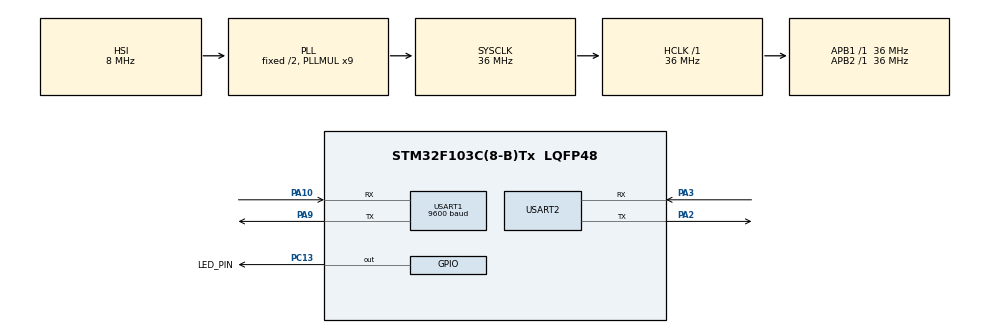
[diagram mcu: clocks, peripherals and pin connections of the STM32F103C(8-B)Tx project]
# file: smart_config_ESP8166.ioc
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Mcu.Family=STM32F1
Mcu.Name=STM32F103C(8-B)Tx
Mcu.Package=LQFP48
NVIC.PriorityGroup=NVIC_PRIORITYGROUP_4
NVIC.TIM3_IRQn=true\:3\:0\:true\:false\:true\:true\:true
NVIC.USART1_IRQn=true\:0\:0\:false\:false\:true\:true\:true
NVIC.USART2_IRQn=true\:2\:0\:true\:false\:true\:true\:true
PA10.Mode=Asynchronous
PA10.Signal=USART1_RX
PA13.Mode=Serial_Wire
PA13.Signal=SYS_JTMS-SWDIO
PA14.Mode=Serial_Wire
PA14.Signal=SYS_JTCK-SWCLK
PA2.Mode=Asynchronous
PA2.Signal=USART2_TX
PA3.Mode=Asynchronous
PA3.Signal=USART2_RX
PA9.Mode=Asynchronous
PA9.Signal=USART1_TX
PC13-TAMPER-RTC.GPIO_Label=LED_PIN
PC13-TAMPER-RTC.PinState=GPIO_PIN_SET
PC13-TAMPER-RTC.Signal=GPIO_Output
ProjectManager.HeapSize=0x200
ProjectManager.StackSize=0x400
ProjectManager.TargetToolchain=MDK-ARM V5.32
RCC.AHBFreq_Value=36000000
RCC.APB1Freq_Value=36000000
RCC.APB1TimFreq_Value=36000000
RCC.APB2Freq_Value=36000000
RCC.APB2TimFreq_Value=36000000
RCC.HCLKFreq_Value=36000000
RCC.PLLMUL=RCC_PLL_MUL9
RCC.SYSCLKFreq_VALUE=36000000
RCC.SYSCLKSource=RCC_SYSCLKSOURCE_PLLCLK
RCC.USBFreq_Value=36000000
TIM3.Period=1999
TIM3.Prescaler=1799
USART1.BaudRate=9600
USART1.VirtualMode=VM_ASYNC
USART2.VirtualMode=VM_ASYNC
VP_TIM3_VS_ClockSourceINT.Mode=Internal
board=custom

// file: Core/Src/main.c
/* USER CODE BEGIN Header */
/**
  ******************************************************************************
  * @file           : main.c
  * @brief          : Main program body
  ******************************************************************************
  * @attention
  *
  * <h2><center>&copy; Copyright (c) 2021 STMicroelectronics.
  * All rights reserved.</center></h2>
  *
  * This software component is licensed by ST under BSD 3-Clause license,
  * the "License"; You may not use this file except in compliance with the
  * License. You may obtain a copy of the License at:
  *                        opensource.org/licenses/BSD-3-Clause
  *
  ******************************************************************************
  */
/* USER CODE END Header */
#include "main.h"

/* USER CODE BEGIN Includes */
#include <stdint.h>
#include <stdbool.h>
#include "esp8266_smart_config.h"
#include "delay_timer.h"

/* USER CODE END Includes */

TIM_HandleTypeDef htim3;

UART_HandleTypeDef huart1;
UART_HandleTypeDef huart2;

/* USER CODE BEGIN PV */
/* ESP variables */
extern uint8_t esp_buff[BUFF_MAX]; /* Buffer receive */
extern uint8_t esp_rx_data;        /* Byte receive */
extern uint32_t esp_rx_index;      /* Index */
extern bool esp_rx_done;   /* Receive done flag */

/* USER CODE END PV */

void SystemClock_Config(void);
static void MX_GPIO_Init(void);
static void MX_USART1_UART_Init(void);
static void MX_USART2_UART_Init(void);
static void MX_TIM3_Init(void);

/* USER CODE BEGIN 0 */
void HAL_UART_RxCpltCallback(UART_HandleTypeDef *huart)
{
	UNUSED(huart);
	if(huart->Instance == USART2)
	{
		if(esp_rx_data != ENTER_CHAR)
		{
			esp_buff[esp_rx_index++] = esp_rx_data;
		}
		else
		{
			/* Clear index and set flag esp_rx_done */
			esp_rx_index = 0;
			esp_rx_done = true;
		}
		HAL_UART_Receive_IT(&huart2, &esp_rx_data, 1);
	}
}

/* USER CODE END 0 */

int main(void)
{

  /* MCU Configuration--------------------------------------------------------*/

  /* Reset of all peripherals, Initializes the Flash interface and the Systick. */
  HAL_Init();

  /* Configure the system clock */
  SystemClock_Config();

  /* Initialize all configured peripherals */
  MX_GPIO_Init();
  MX_USART1_UART_Init();
  MX_USART2_UART_Init();
  MX_TIM3_Init();
  /* USER CODE BEGIN 2 */
	HAL_TIM_Base_Start(&htim3);
	HAL_UART_Receive_IT(&huart2, &esp_rx_data, 1);
	esp8266_init();

  /* USER CODE END 2 */

  /* Infinite loop */
  while (1)
  {

  }
}

void SystemClock_Config(void)
{
  RCC_OscInitTypeDef RCC_OscInitStruct = {0};
  RCC_ClkInitTypeDef RCC_ClkInitStruct = {0};

  /** Initializes the RCC Oscillators according to the specified parameters
  * in the RCC_OscInitTypeDef structure.
  */
  RCC_OscInitStruct.OscillatorType = RCC_OSCILLATORTYPE_HSI;
  RCC_OscInitStruct.HSIState = RCC_HSI_ON;
  RCC_OscInitStruct.HSICalibrationValue = RCC_HSICALIBRATION_DEFAULT;
  RCC_OscInitStruct.PLL.PLLState = RCC_PLL_ON;
  RCC_OscInitStruct.PLL.PLLSource = RCC_PLLSOURCE_HSI_DIV2;
  RCC_OscInitStruct.PLL.PLLMUL = RCC_PLL_MUL9;
  if (HAL_RCC_OscConfig(&RCC_OscInitStruct) != HAL_OK)
  {
    Error_Handler();
  }
  /** Initializes the CPU, AHB and APB buses clocks
  */
  RCC_ClkInitStruct.ClockType = RCC_CLOCKTYPE_HCLK|RCC_CLOCKTYPE_SYSCLK
                              |RCC_CLOCKTYPE_PCLK1|RCC_CLOCKTYPE_PCLK2;
  RCC_ClkInitStruct.SYSCLKSource = RCC_SYSCLKSOURCE_PLLCLK;
  RCC_ClkInitStruct.AHBCLKDivider = RCC_SYSCLK_DIV1;
  RCC_ClkInitStruct.APB1CLKDivider = RCC_HCLK_DIV1;
  RCC_ClkInitStruct.APB2CLKDivider = RCC_HCLK_DIV1;

  if (HAL_RCC_ClockConfig(&RCC_ClkInitStruct, FLASH_LATENCY_1) != HAL_OK)
  {
    Error_Handler();
  }
}

static void MX_TIM3_Init(void)
{

  TIM_ClockConfigTypeDef sClockSourceConfig = {0};
  TIM_MasterConfigTypeDef sMasterConfig = {0};

  htim3.Instance = TIM3;
  htim3.Init.Prescaler = 1799;
  htim3.Init.CounterMode = TIM_COUNTERMODE_UP;
  htim3.Init.Period = 1999;
  htim3.Init.ClockDivision = TIM_CLOCKDIVISION_DIV1;
  htim3.Init.AutoReloadPreload = TIM_AUTORELOAD_PRELOAD_DISABLE;
  if (HAL_TIM_Base_Init(&htim3) != HAL_OK)
  {
    Error_Handler();
  }
  sClockSourceConfig.ClockSource = TIM_CLOCKSOURCE_INTERNAL;
  if (HAL_TIM_ConfigClockSource(&htim3, &sClockSourceConfig) != HAL_OK)
  {
    Error_Handler();
  }
  sMasterConfig.MasterOutputTrigger = TIM_TRGO_RESET;
  sMasterConfig.MasterSlaveMode = TIM_MASTERSLAVEMODE_DISABLE;
  if (HAL_TIMEx_MasterConfigSynchronization(&htim3, &sMasterConfig) != HAL_OK)
  {
    Error_Handler();
  }

}

static void MX_USART1_UART_Init(void)
{

  huart1.Instance = USART1;
  huart1.Init.BaudRate = 9600;
  huart1.Init.WordLength = UART_WORDLENGTH_8B;
  huart1.Init.StopBits = UART_STOPBITS_1;
  huart1.Init.Parity = UART_PARITY_NONE;
  huart1.Init.Mode = UART_MODE_TX_RX;
  huart1.Init.HwFlowCtl = UART_HWCONTROL_NONE;
  huart1.Init.OverSampling = UART_OVERSAMPLING_16;
  if (HAL_UART_Init(&huart1) != HAL_OK)
  {
    Error_Handler();
  }

}

static void MX_USART2_UART_Init(void)
{

  huart2.Instance = USART2;
  huart2.Init.BaudRate = 115200;
  huart2.Init.WordLength = UART_WORDLENGTH_8B;
  huart2.Init.StopBits = UART_STOPBITS_1;
  huart2.Init.Parity = UART_PARITY_NONE;
  huart2.Init.Mode = UART_MODE_TX_RX;
  huart2.Init.HwFlowCtl = UART_HWCONTROL_NONE;
  huart2.Init.OverSampling = UART_OVERSAMPLING_16;
  if (HAL_UART_Init(&huart2) != HAL_OK)
  {
    Error_Handler();
  }

}

static void MX_GPIO_Init(void)
{
  GPIO_InitTypeDef GPIO_InitStruct = {0};

  /* GPIO Ports Clock Enable */
  __HAL_RCC_GPIOC_CLK_ENABLE();
  __HAL_RCC_GPIOA_CLK_ENABLE();

  /*Configure GPIO pin Output Level */
  HAL_GPIO_WritePin(LED_PIN_GPIO_Port, LED_PIN_Pin, GPIO_PIN_SET);

  /*Configure GPIO pin : LED_PIN_Pin */
  GPIO_InitStruct.Pin = LED_PIN_Pin;
  GPIO_InitStruct.Mode = GPIO_MODE_OUTPUT_PP;
  GPIO_InitStruct.Pull = GPIO_NOPULL;
  GPIO_InitStruct.Speed = GPIO_SPEED_FREQ_LOW;
  HAL_GPIO_Init(LED_PIN_GPIO_Port, &GPIO_InitStruct);

}

void Error_Handler(void)
{
  __disable_irq();
  while (1)
  {
  }
}

/************************ (C) COPYRIGHT STMicroelectronics *****END OF FILE****/
